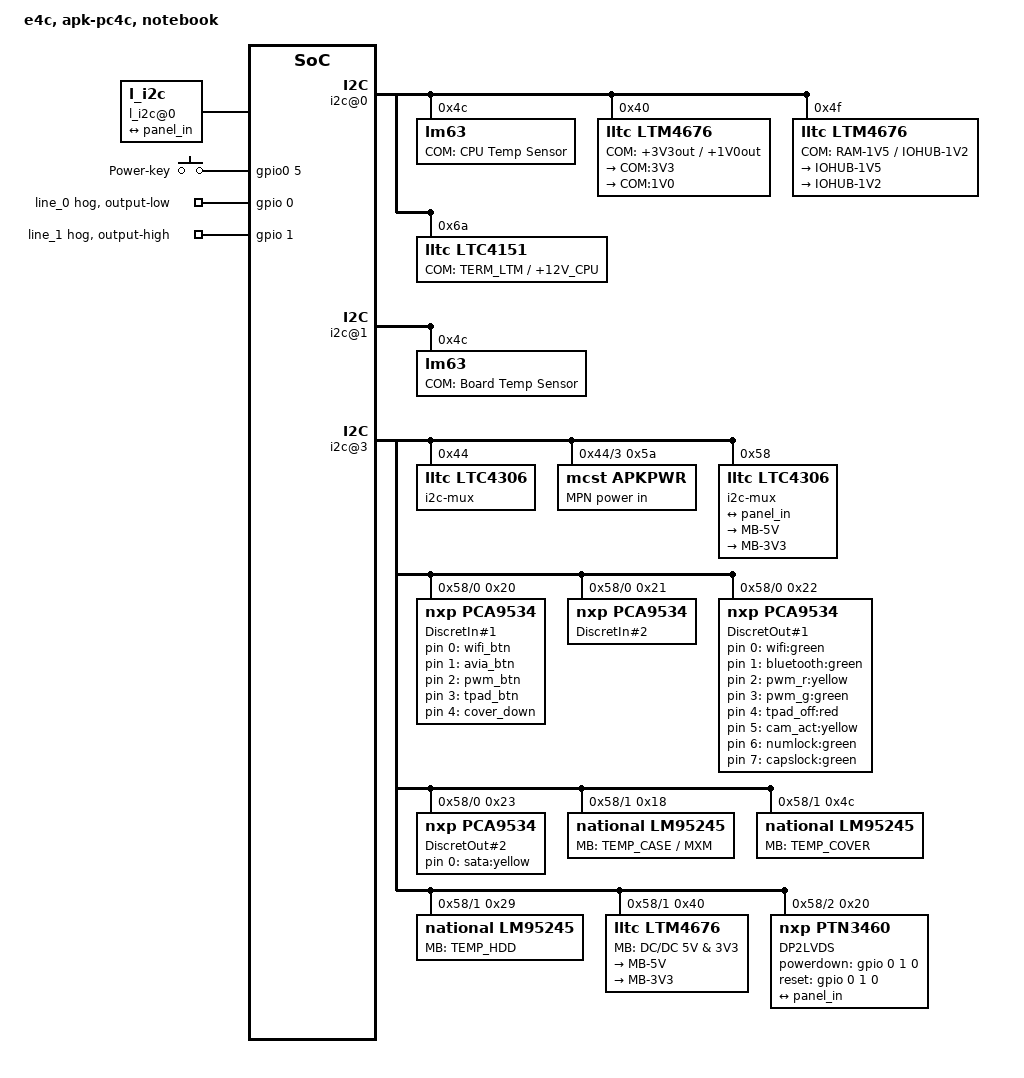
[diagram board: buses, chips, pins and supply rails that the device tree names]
/*
 * support for the Mcst Pevm based board
 *
 */
/dts-v1/;

/*#include <dt-bindings/input/input.h>*/

/ {
	version = "apk-pc4c v1.0 2018-03-16";
	model = "e4c, apk-pc4c, notebook";
	compatible = "mcst,apk-pc4c";
	#address-cells = <1>;
	#size-cells = <0>;

	l_i2c@0 {
		#address-cells = <1>;
		#size-cells = <0>;
		reg = <0>;
		compatible = "l_i2c";
		i2c@0 {
			#address-cells = <1>;
			#size-cells = <0>;
			reg = <0>;
			lm96163@4c {
				/* hwmon/lm63.ko (DD22:LM96163CISD) - CPU_TERM */
				compatible = "lm63";
				reg = <0x4c>;
				label = "COM: CPU Temp Sensor";

				temp1_label = "Internal Temp";
				temp2_label = "CPU Temp";
				/* no fan control */
			};
			ltm4676@40 {
				/* hwmon/pmbus/ltc2978.ko (LTM4676IY) - +3V3out / +1V0out */
				compatible = "lltc,ltm4676";
				reg = <0x40>;
				label = "COM: +3V3out / +1V0out";
				regulators {
					vout0 {
						regulator-name = "COM:3V3";
					};
					vout1 {
						regulator-name = "COM:1V0";
					};
				};
			};
			ltm4676@4f {
				/* hwmon/pmbus/ltc2978.ko (LTM4676IY) - +1V5out / +1V2out */
				compatible = "lltc,ltm4676";
				reg = <0x4f>;
				label = "COM: RAM-1V5 / IOHUB-1V2";
				regulators {
					vout0 {
						regulator-name = "IOHUB-1V5";
					};
					vout1 {
						regulator-name = "IOHUB-1V2";
					};
				};
			};
			ltc4151@6a {
				/* hwmon/ltc4151.ko (LTC4551IDD) - TERM_LTM / +12V_CPU */
				compatible = "lltc,ltc4151";
				reg = <0x6a>;
				shunt-resistor-micro-ohms = <20000>;
				label = "COM: TERM_LTM / +12V_CPU";
			};
			/*
			pca9534@20 {
				compatible = "nxp,pca9534"; //driver: gpio/gpio-pca953x
				reg = <0x20>;
			};
			pca9534@21 {
				compatible = "nxp,pca9534"; //driver: gpio/gpio-pca953x
				reg = <0x21>;
			};
			*/
		};
		i2c@1 {
			#address-cells = <1>;
			#size-cells = <0>;
			reg = <1>;
			lm96163@4c {
				/* hwmon/lm63.ko (DD24:LM96163CISD) - board temp */
				compatible = "lm63";
				reg = <0x4c>;
				label = "COM: Board Temp Sensor";

				temp1_label = "Internal Temp";
				temp2_label = "not connected";
				/* no fan control */
			};
		};
		i2c@2 {
			#address-cells = <1>;
			#size-cells = <0>;
			reg = <2>;
			/* (PEX8624-BB50BIF) - PCIe switch */
		};
		i2c@3 {
			/* COMexpress:SMB */
			#address-cells = <1>;
			#size-cells = <0>;
			reg = <3>;
			i2c-mux@44 {
				/* i2c/muxes/i2c-mux-ltc4306.ko (LTC4306) - I2C MUX */
				#address-cells = <1>;
				#size-cells = <0>;
				compatible = "lltc,ltc4306";
				reg = <0x44>;
				/* i2c-mux-idle-disconnect; */
				i2c@0 {
					#address-cells = <1>;
					#size-cells = <0>;
					reg = <0>;
					/* E8860 MXM Radeon video */
				};
				i2c@1 {
					#address-cells = <1>;
					#size-cells = <0>;
					reg = <1>;
					/* mPCI-E (WiFi+BT) */
				};
				i2c@2 {
					#address-cells = <1>;
					#size-cells = <0>;
					reg = <2>;
					/* mPCI-E (Exp) */
				};
				i2c@3 {
					#address-cells = <1>;
					#size-cells = <0>;
					reg = <3>;
					apkpwr@5a {
						/* mcst/apkpwr.ko [X13:PowerIn] */
						#address-cells = <1>;
						#size-cells = <0>;
						compatible = "mcst,apkpwr";
						reg = <0x5a>;
						label = "MPN power in";
					};
				};
			};
			i2c-mux@58 {
				/* i2c/muxes/i2c-mux-ltc4306.ko (LTC4306) - I2C MUX */
				#address-cells = <1>;
				#size-cells = <0>;
				compatible = "lltc,ltc4306";
				reg = <0x58>;
				/* i2c-mux-idle-disconnect; */
				i2c@0 {
					#address-cells = <1>;
					#size-cells = <0>;
					reg = <0>;
					gpi1:pca9534@20 {
						/* gpio/gpio-pca953x.ko (DD14:PCA9534PW) - DiscretIn#1 */
						compatible = "nxp,pca9534";
						reg = <0x20>;
						label = "DiscretIn#1";
						gpio-controller;
						/* FUTURE: (now interrupt support not compiled in)
						interrupt-parent = <&gpio?>;
						interrupts = <?? IRQ_TYPE_LEVEL_LOW>;
						*/
						ngpios = <8>;
						#gpio-cells = <2>;
						/* use gpio_keys to control lines 0..4 */
						gpio-line-names = "wifi_btn", "avia_btn", "pwm_btn", "tpad_btn", "cover_down",
								  "PRSNT_L", "PRSNT_R", "NT_FLAG";
					};
					gpi2:pca9534@21 {
						/* gpio/gpio-pca953x.ko (DD6:PCA9534PW) - DiscretIn#2 */
						compatible = "nxp,pca9534";
						reg = <0x21>;
						label = "DiscretIn#2";
						gpio-controller;
						/* FUTURE: (now interrupt support not compiled in)
						interrupt-parent = <&gpio?>;
						interrupts = <?? IRQ_TYPE_LEVEL_LOW>;
						*/
						ngpios = <6>;
						#gpio-cells = <2>;
						gpio-line-names = "PWR_ALERT", "CASE_ALERT", "COVER_ALERT",
								  "CPU_OVERH", "TH_OVERH", "HDD_ALERT";
					};
					gpo1:pca9534@22 {
						/* gpio/gpio-pca953x.ko (DD5:PCA9534) - DiscretOut#1 */
						compatible = "nxp,pca9534";
						reg = <0x22>;
						label = "DiscretOut#1";
						gpio-controller;
						/* FUTURE: (now interrupt support not compiled in)
						interrupt-parent = <&gpio?>;
						interrupts = <?? IRQ_TYPE_LEVEL_LOW>;
						*/
						ngpios = <8>;
						#gpio-cells = <2>;
						/* use gpio_leds to control this lines */
						gpio-line-names = "wifi_led", "bluetooth_led", "pwm_r_led", "pwm_g_led",
								  "tpad_off_led", "cam_act_led", "numlock_led", "capslock_led";
					};
					gpo2:pca9534@23 {
						/* gpio/gpio-pca953x.ko (DD7:PCA9534) - DiscretOut#2 */
						compatible = "nxp,pca9534";
						reg = <0x23>;
						label = "DiscretOut#2";
						gpio-controller;
						/* FUTURE: (now interrupt support not compiled in)
						interrupt-parent = <&gpio?>;
						interrupts = <?? IRQ_TYPE_LEVEL_LOW>;
						*/
						ngpios = <4>;
						#gpio-cells = <2>;
						/* use gpio_leds to control line 0 and gpio to other */
						gpio-line-names = "sata_led",
								  "PWR_LEVEL", "RS_232_EN", "WIFI_DIS";
						rs232_en {
							gpio-hog;
							gpios = <2 0>;
							output-low;
							line-name = "RS_232_EN";
							/* use IOHUB-GPIO for this function */
						};
					};
				};
				i2c@1 {
					#address-cells = <1>;
					#size-cells = <0>;
					reg = <1>;
					lm95245@18 {
						/* hwmon/lm95245.ko (DD54:LM95245CIMM) - TEMP_CASE + MXM */
						compatible = "national,lm95245";
						reg = <0x18>;
						label = "MB: TEMP_CASE / MXM";
						// TODO: in reg 0xBF clear bit 3 (lm95245.pdf, p.20)
					};
					lm95245@4c {
						/* hwmon/lm95245.ko (DD55:LM95245CIMM) - TEMP_COVER */
						compatible = "national,lm95245";
						reg = <0x4c>;
						label = "MB: TEMP_COVER";
						// TODO: in reg 0xBF clear bit 3 (lm95245.pdf, p.20)
					};
					lm95245@29 {
						/* hwmon/lm95245.ko (DD56:LM95245CIMM) - TEMP_HDD */
						compatible = "national,lm95245";
						reg = <0x29>;
						label = "MB: TEMP_HDD";
						// TODO: in reg 0xBF clear bit 3 (lm95245.pdf, p.20)
					};
					ltm4676@40 {
						/* hwmon/pmbus/ltc2978.ko (DA1:LTM4676IY) - DC/DC 5V & 3V3 */
						compatible = "lltc,ltm4676";
						reg = <0x40>;
						label = "MB: DC/DC 5V & 3V3";
						regulators {
							vout0 {
								regulator-name = "MB-5V";
							};
							vout1 {
								regulator-name = "MB-3V3";
							};
						};
					};
				};
				i2c@2 {
					#address-cells = <1>;
					#size-cells = <0>;
					reg = <2>;
					ptn3460@20 {
						/* gpu/drm/bridge/nxp-ptn3460.ko (DD54:LM95245CIMM) - DP2LVDS */
						compatible = "nxp,ptn3460";
						reg = <0x20>;
						label = "DP2LVDS";
						powerdown-gpio = <&gpio 0 1 0 0>; /* PD_N pin */
						reset-gpio = <&gpio 0 1 0 0>; /* RST_N pin */
						edid-emulation = <1>;
							/* edid-emulation:
							|   0   |  1024x768  | NXP Generic      |
							|   1   |  1920x1080 | NXP Generic      |
							|   2   |  1920x1080 | NXP Generic      |
							|   3   |  1600x900  | Samsung LTM200KT |
							|   4   |  1920x1080 | Samsung LTM230HT |
							|   5   |  1366x768  | NXP Generic      |
							|   6   |  1600x900  | ChiMei M215HGE   |
							*/
						ports {
							#address-cells = <1>;
							#size-cells = <0>;
							port@0 {
								reg = <0>;
								bridge_out:endpoint {
									remote-endpoint = <&panel_in>;
								};
							};
						};
					};
				};
				i2c@3 {
					#address-cells = <1>;
					#size-cells = <0>;
					reg = <3>;
				};
			};
		};
	};
	l_spi@0 {
		#address-cells = <1>;
		#size-cells = <0>;
		compatible = "l_spi";
		reg = <0>;
		boot@0 {
			compatible = "mcst,boot";
			reg = <0>;
			spi-max-frequency = <16000000>;
		};
		rtc-cy14b101p@1 {
			compatible = "rtc-cy14b101p";
			reg = <1>;
			spi-max-frequency = <16000000>;
		};
	};
	gpio0:l_gpio@0 {
		compatible = "mcst,gpio";
		reg = <0x0>;
		label = "L-GPIO";
		gpio-controller;
		ngpios = <16>;
		#gpio-cells = <2>;
		gpio-line-names = "nc", "nc", "nc", "nc", "nc",
				  "GPI0.PWR_NMI", "GPI1.I2C_INT",
				  "GPI2.TP14", "GPI3.TP15",
				  "GPO0.PWR_KILL", "GPO1.RS232_EN1",
				  "GPO2.TP16", "GPO3.TP17",
				  "nc", "nc", "nc";
	};

	gpio_leds {
		compatible = "gpio-leds";
		/* DiscretOut#1: */
		wifi_led {
			gpios = <&gpo1 0 0>; /* (F3) */
			linux,default-trigger = "rfkill0";
			label = "wifi:green";
		};
		avia_led {
			gpios = <&gpo1 1 0>; /* (F1) */
			linux,default-trigger = "rfkill1";
			label = "bluetooth:green";
		};
		pwm_r_led {
			gpios = <&gpo1 2 0>; /* (F4) */
			linux,default-trigger = "none";
			default-state = "on";
			label = "pwm_r:yellow";
		};
		pwm_g_led {
			gpios = <&gpo1 3 0>; /* (F4) */
			linux,default-trigger = "none";
			default-state = "off";
			label = "pwm_g:green";
		};
		tpad_off_led {
			gpios = <&gpo1 4 0>; /* (F2) */
			linux,default-trigger = "none";
			default-state = "off";
			label = "tpad_off:red";
		};
		cam_act_led {
			gpios = <&gpo1 5 0>;
			linux,default-trigger = "none";
			default-state = "off";
			label = "cam_act:yellow";
		};
		numlock_led {
			gpios = <&gpo1 6 0>;
			linux,default-trigger = "kbd-numlock";
			label = "numlock:green";
		};
		capslock_led {
			gpios = <&gpo1 7 0>;
			linux,default-trigger = "kbd-capslock";
			label = "capslock:green";
		};
		/* DiscretOut#2: */
		sata_led {
			gpios = <&gpo2 0 0>;
			linux,default-trigger = "disk-activity";
			label = "sata:yellow";
		};
	};
	gpio_keys_polled {
		#address-cells = <1>;
		#size-cells = <0>;
		compatible = "gpio-keys-polled";
		poll-interval = <250>;
		/*autorepeat;*/
		wifi_btn {
			gpios = <&gpi1 0 0>; /* [F3] */
			linux,code = <238>; /* KEY_WLAN */
			debounce-interval = <10>;
			label = "wifi_btn";
		};
		avia_btn {
			gpios = <&gpi1 1 0>; /* [F1] */
			linux,code = <247>; /* KEY_RFKILL */
			debounce-interval = <10>;
			label = "avia_btn";
		};
		pwm_btn {
			gpios = <&gpi1 2 0>; /* [F4] */
			linux,code = <243>; /* KEY_BRIGHTNESS_CYCLE */
			debounce-interval = <10>;
			label = "pwm_btn";
		};
		tpad_btn {
			gpios = <&gpi1 3 0>; /* [F2] */
			linux,code = <0x212>; /* KEY_TOUCHPAD_TOGGLE */
			debounce-interval = <10>;
			label = "tpad_btn";
		};
		cover_down {
			gpios = <&gpi1 4 0>; /* case closed */
			linux,code = <245>; /* KEY_DISPLAY_OFF */
			debounce-interval = <10>;
			label = "cover_down";
		};
		power {
			gpios = <&gpio0 5 0>;
			linux,code = <116>; /* KEY_POWER */
			debounce-interval = <10>;
			label = "Power-key";
		};
	};

	/* stub */
	gpio:gpio-controller {
		gpio-controller;
		ngpios = <2>;
		#gpio-cells = <2>;
		line_0 {
			gpio-hog;
			gpios = <0 0>;
			output-low;
		};
		line_1 {
			gpio-hog;
			gpios = <1 0>;
			output-high;
		};
	};
	port {
		panel_in: endpoint {
			remote-endpoint = <&bridge_out>;
		};
	};
};
